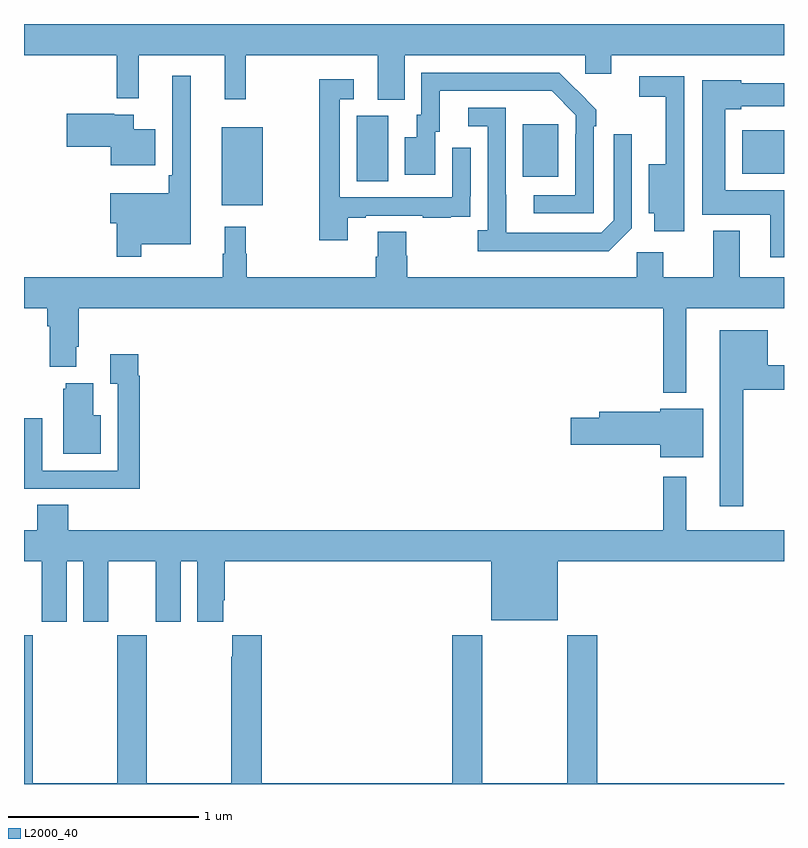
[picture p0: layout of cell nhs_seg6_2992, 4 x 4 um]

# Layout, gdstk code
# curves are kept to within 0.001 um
import gdstk
lib = gdstk.Library(unit=1e-6, precision=1e-09)
def R(c, l, rs):  # rectangles x0, y0, x1, y1
    for r in rs: c.add(gdstk.rectangle(r[:2], r[2:], *l))
def P(c, l, *ps):  # polygons
    for p in ps: c.add(gdstk.Polygon(p, *l))
L2000_40 = (2000, 40)

nhs_seg6_2992 = lib.new_cell('nhs_seg6_2992')
R(nhs_seg6_2992, L2000_40, [(288.041,946.547,288.256,946.957), (288.752,946.672,288.916,947.016), (289.625,946.697,289.813,946.972), (290.78,946.712,291,946.942)])
P(nhs_seg6_2992, L2000_40, [(289.003,947.336),(289.953,947.336),(289.953,947.238),(290.092,947.238),(290.092,947.336),(291,947.336),(291,947.5),(287,947.5),(287,947.336),(287.489,947.336),(287.489,947.108),(287.603,947.108),(287.603,947.336),(288.056,947.336),(288.056,947.103),(288.166,947.103),(288.166,947.336),(288.863,947.336),(288.863,947.101),(289.003,947.101)],
  [(289.998,946.961),(290.013,946.961),(290.013,947.049),(289.816,947.244),(289.092,947.244),(289.092,947.022),(289.067,947.022),(289.067,946.903),(289.004,946.903),(289.004,946.707),(289.165,946.707),(289.165,946.932),(289.189,946.932),(289.189,947.148),(289.777,947.148),(289.905,947.019),(289.905,946.919),(289.902,946.919),(289.902,946.599),(289.683,946.599),(289.683,946.503),(289.998,946.503)],
  [(287.617,946.34),(287.878,946.34),(287.878,947.227),(287.781,947.227),(287.781,946.705),(287.761,946.705),(287.761,946.609),(287.454,946.609),(287.454,946.451),(287.488,946.451),(287.488,946.275),(287.617,946.275)],
  [(290.476,946.658),(290.475,946.658),(290.475,947.226),(290.238,947.226),(290.238,947.118),(290.378,947.118),(290.378,946.762),(290.288,946.762),(290.288,946.505),(290.318,946.505),(290.318,946.41),(290.476,946.41)],
  [(288.703,946.479),(288.799,946.479),(288.799,946.491),(289.099,946.491),(289.099,946.479),(289.247,946.479),(289.247,946.485),(289.349,946.485),(289.349,946.594),(289.35,946.594),(289.35,946.849),(289.254,946.849),(289.254,946.587),(288.663,946.587),(288.663,947.103),(288.736,947.103),(288.736,947.209),(288.555,947.209),(288.555,946.362),(288.703,946.362)],
  [(291,946.624),(290.692,946.624),(290.692,947.051),(290.775,947.051),(290.775,947.066),(291,947.066),(291,947.188),(290.775,947.188),(290.775,947.203),(290.57,947.203),(290.57,946.496),(290.927,946.496),(290.927,946.272),(291,946.272)],
  [(290.199,946.425),(290.199,946.921),(290.103,946.921),(290.103,946.467),(290.037,946.401),(289.537,946.401),(289.536,947.058),(289.338,947.058),(289.338,946.962),(289.44,946.962),(289.44,946.414),(289.389,946.414),(289.389,946.304),(290.078,946.304)],
  [(287.692,946.945),(287.578,946.945),(287.578,947.023),(287.474,947.023),(287.474,947.028),(287.226,947.028),(287.226,946.853),(287.456,946.853),(287.456,946.757),(287.692,946.757)],
  [(290.485,946.004),(291,946.004),(291,946.168),(290.767,946.168),(290.767,946.411),(290.627,946.411),(290.627,946.168),(290.365,946.168),(290.365,946.3),(290.226,946.3),(290.226,946.168),(289.016,946.168),(289.016,946.281),(289.011,946.281),(289.011,946.406),(288.863,946.406),(288.863,946.274),(288.851,946.274),(288.851,946.168),(288.173,946.168),(288.173,946.292),(288.166,946.292),(288.166,946.432),(288.056,946.432),(288.056,946.292),(288.045,946.292),(288.045,946.168),(287,946.168),(287,946.004),(287.123,946.004),(287.123,945.908),(287.135,945.908),(287.135,945.695),(287.275,945.695),(287.275,945.802),(287.288,945.802),(287.288,946.004),(290.364,946.004),(290.364,945.56),(290.485,945.56)],
  [(290.785,945.574),(291,945.574),(291,945.703),(290.914,945.703),(290.914,945.889),(290.663,945.889),(290.663,944.961),(290.785,944.961)],
  [(287.609,945.65),(287.602,945.65),(287.602,945.763),(287.453,945.763),(287.453,945.607),(287.493,945.607),(287.493,945.15),(287.097,945.15),(287.097,945.424),(287.001,945.424),(287.001,945.054),(287.317,945.054),(287.317,945.053),(287.609,945.053)],
  [(287.404,945.442),(287.365,945.442),(287.365,945.61),(287.219,945.61),(287.219,945.579),(287.207,945.579),(287.207,945.239),(287.404,945.239)],
  [(290.575,945.475),(290.348,945.475),(290.348,945.458),(290.027,945.458),(290.027,945.428),(289.878,945.428),(289.878,945.286),(290.348,945.286),(290.348,945.221),(290.575,945.221)],
  [(287.224,944.672),(287.312,944.672),(287.312,944.355),(287.443,944.355),(287.443,944.672),(287.693,944.672),(287.693,944.355),(287.824,944.355),(287.824,944.672),(287.912,944.672),(287.912,944.355),(288.049,944.355),(288.049,944.467),(288.056,944.467),(288.056,944.672),(289.46,944.672),(289.46,944.363),(289.81,944.363),(289.81,944.672),(291,944.672),(291,944.836),(290.485,944.836),(290.485,945.118),(290.364,945.118),(290.364,944.836),(287.234,944.836),(287.234,944.969),(287.069,944.969),(287.069,944.836),(287,944.836),(287,944.672),(287.093,944.672),(287.093,944.355),(287.224,944.355)],
  [(291,943.504),(290.018,943.504),(290.018,944.284),(289.858,944.284),(289.858,943.504),(289.413,943.504),(289.413,944.284),(289.253,944.284),(289.253,943.504),(288.251,943.504),(288.251,944.284),(288.095,944.284),(288.095,944.171),(288.091,944.171),(288.091,943.504),(287.646,943.504),(287.646,944.284),(287.491,944.284),(287.491,943.504),(287.046,943.504),(287.046,944.284),(287,944.284),(287,943.5),(291,943.5)])

lib.write_gds('nhs_seg6_2992.gds')
